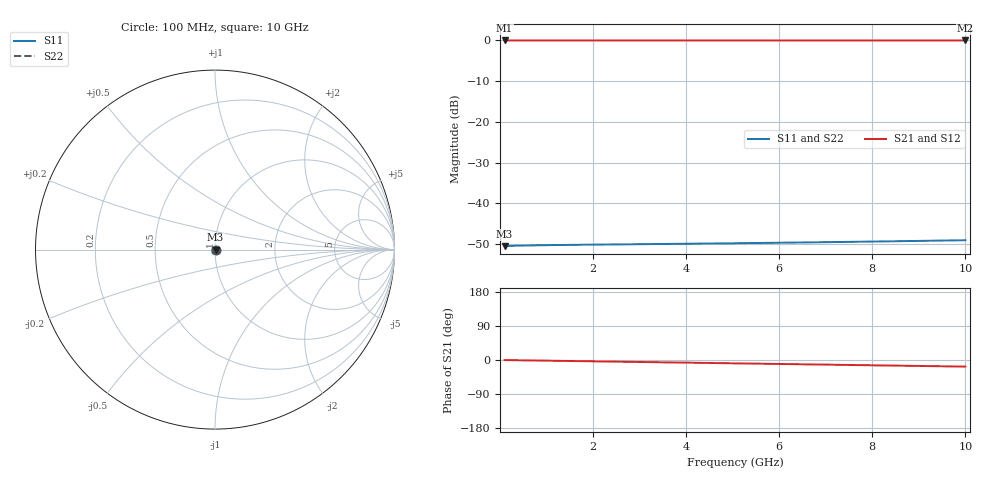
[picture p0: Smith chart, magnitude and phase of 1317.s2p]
# Hz S RI R 50.00
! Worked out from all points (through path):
!   100 points, 100 MHz to 10 GHz, reference 50 ohm
!   highest |S21| = -0.03 dB at 100 MHz (marker M1); lowest = 0.0 dB at 10 GHz (marker M2)
!   group delay of S21, straight-line fit = 4.85 ps
!   lowest |S11| = -50.5 dB at 100 MHz (marker M3), VSWR 1.01, Z = 50.3 - j0.00229 ohm
!   |S11| at or under -10 dB: start of sweep to end of sweep
!   |S22| runs from -50.5 to -49.0 dB; largest |S21 - S12| = 0
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1e8  0.003 -2.28e-05  0.997 -0.00303  0.997 -0.00303  0.003 -2.28e-05
2e8  0.00301 -4.57e-05  0.997 -0.00607  0.997 -0.00607  0.00301 -4.57e-05
3e8  0.00303 -6.87e-05  0.9969 -0.0091  0.9969 -0.0091  0.00303 -6.87e-05
4e8  0.00304 -9.17e-05  0.9969 -0.0121  0.9969 -0.0121  0.00304 -9.17e-05
5e8  0.00305 -0.000115  0.9968 -0.0152  0.9968 -0.0152  0.00305 -0.000115
6e8  0.00305 -0.000138  0.9968 -0.0182  0.9968 -0.0182  0.00305 -0.000138
8e8  0.00306 -0.000184  0.9966 -0.0243  0.9966 -0.0243  0.00306 -0.000184
1.1e9  0.00308 -0.000254  0.9963 -0.0334  0.9963 -0.0334  0.00308 -0.000254
1.4e9  0.00309 -0.000324  0.996 -0.0424  0.996 -0.0424  0.00309 -0.000324
1.8e9  0.00309 -0.000418  0.9953 -0.0546  0.9953 -0.0546  0.00309 -0.000418
2.6e9  0.00309 -0.000605  0.9937 -0.0788  0.9937 -0.0788  0.00309 -0.000605
3.4e9  0.00308 -0.000794  0.9914 -0.1029  0.9914 -0.1029  0.00308 -0.000794
4.2e9  0.00306 -0.000984  0.9886 -0.127  0.9886 -0.127  0.00306 -0.000984
4.6e9  0.00305 -0.00108  0.9869 -0.1391  0.9869 -0.1391  0.00305 -0.00108
5.1e9  0.00303 -0.0012  0.9847 -0.1541  0.9847 -0.1541  0.00303 -0.0012
5.9e9  0.00299 -0.00139  0.9806 -0.178  0.9806 -0.178  0.00299 -0.00139
6.7e9  0.00294 -0.00158  0.9759 -0.2018  0.9759 -0.2018  0.00294 -0.00158
7.5e9  0.00289 -0.00176  0.9707 -0.2256  0.9707 -0.2256  0.00289 -0.00176
7.9e9  0.00286 -0.00186  0.9678 -0.2374  0.9678 -0.2374  0.00286 -0.00186
8.4e9  0.00281 -0.00198  0.9641 -0.2521  0.9641 -0.2521  0.00281 -0.00198
9.2e9  0.00274 -0.00216  0.9576 -0.2755  0.9576 -0.2755  0.00274 -0.00216
1e10  0.00266 -0.00235  0.9506 -0.2988  0.9506 -0.2988  0.00266 -0.00235
